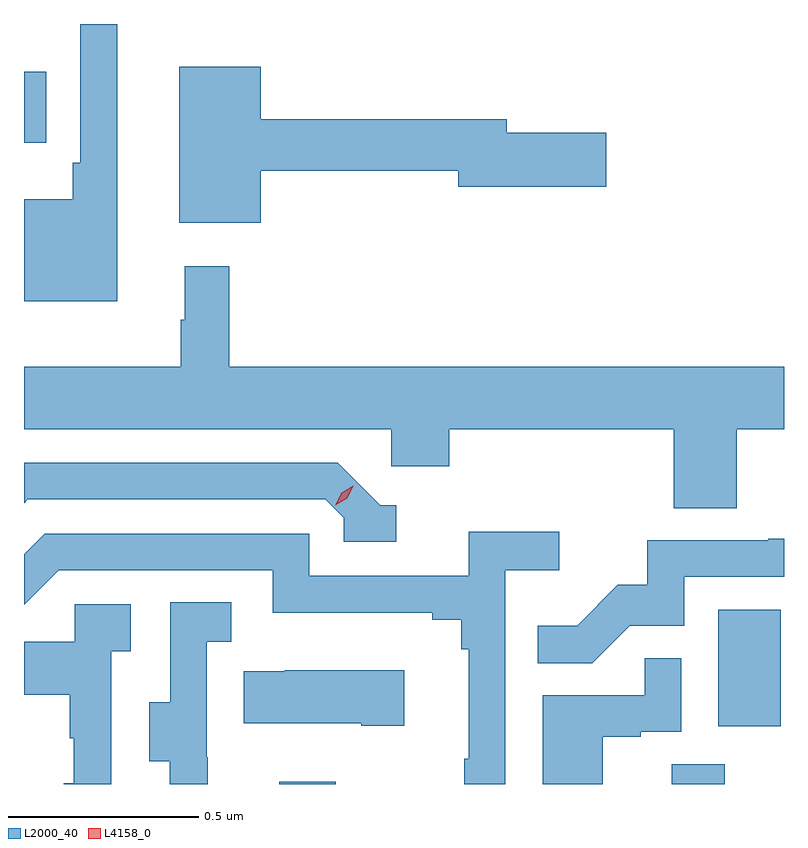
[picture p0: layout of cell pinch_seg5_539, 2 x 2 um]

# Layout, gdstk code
import gdstk
lib = gdstk.Library(unit=1e-6, precision=1e-09)
def R(c, l, rs):  # rectangles x0, y0, x1, y1
    for r in rs: c.add(gdstk.rectangle(r[:2], r[2:], *l))
def P(c, l, *ps):  # polygons
    for p in ps: c.add(gdstk.Polygon(p, *l))
L2000_40 = (2000, 40)
L4158_0 = (4158, 0)

pinch_seg5_539 = lib.new_cell('pinch_seg5_539')
R(pinch_seg5_539, L2000_40, [(958.301,851.83,958.449,851.836), (959.333,851.83,959.473,851.882), (959.456,851.982,959.62,852.289), (957.629,853.517,957.688,853.705)])
P(pinch_seg5_539, L2000_40, [(957.874,853.83),(957.777,853.83),(957.777,853.465),(957.757,853.465),(957.757,853.369),(957.629,853.369),(957.629,853.1),(957.874,853.1)],
  [(958.252,853.444),(958.772,853.444),(958.772,853.402),(959.161,853.402),(959.161,853.544),(958.9,853.544),(958.9,853.58),(958.252,853.58),(958.252,853.717),(958.037,853.717),(958.037,853.307),(958.252,853.307)],
  [(959.504,852.764),(959.629,852.764),(959.629,852.928),(958.169,852.928),(958.169,853.192),(958.052,853.192),(958.052,853.052),(958.041,853.052),(958.041,852.928),(957.629,852.928),(957.629,852.764),(958.596,852.764),(958.596,852.666),(958.748,852.666),(958.748,852.764),(959.339,852.764),(959.339,852.556),(959.504,852.556)],
  [(958.609,852.564),(958.566,852.564),(958.455,852.675),(957.629,852.675),(957.629,852.569),(957.639,852.579),(958.422,852.579),(958.47,852.531),(958.47,852.468),(958.609,852.468)],
  [(958.896,852.392),(959.038,852.392),(959.038,852.494),(958.799,852.494),(958.799,852.378),(958.38,852.378),(958.38,852.489),(957.683,852.489),(957.629,852.435),(957.629,852.302),(957.72,852.393),(958.284,852.393),(958.284,852.281),(958.703,852.281),(958.703,852.262),(958.78,852.262),(958.78,852.185),(958.799,852.185),(958.799,851.897),(958.788,851.897),(958.788,851.83),(958.896,851.83)],
  [(959.223,852.246),(959.367,852.246),(959.367,852.375),(959.629,852.375),(959.629,852.476),(959.587,852.476),(959.587,852.471),(959.269,852.471),(959.269,852.354),(959.192,852.354),(959.085,852.247),(958.981,852.247),(958.981,852.148),(959.125,852.148)],
  [(958.112,851.901),(958.11,851.901),(958.11,852.205),(958.174,852.205),(958.174,852.308),(958.014,852.308),(958.014,852.045),(957.959,852.045),(957.959,851.89),(958.013,851.89),(958.013,851.83),(958.112,851.83)],
  [(957.858,852.179),(957.91,852.179),(957.91,852.303),(957.762,852.303),(957.762,852.205),(957.629,852.205),(957.629,852.065),(957.75,852.065),(957.75,851.951),(957.76,851.951),(957.76,851.832),(957.734,851.832),(957.734,851.83),(957.858,851.83)],
  [(959.152,851.955),(959.252,851.955),(959.252,851.967),(959.358,851.967),(959.358,852.161),(959.263,852.161),(959.263,852.063),(958.994,852.063),(958.994,851.83),(959.152,851.83)],
  [(958.63,852.13),(958.315,852.13),(958.315,852.127),(958.207,852.127),(958.207,851.99),(958.517,851.99),(958.517,851.983),(958.63,851.983)])
P(pinch_seg5_539, L4158_0, [(958.448,852.563),(958.448,852.563),(958.465,852.596),(958.495,852.615),(958.496,852.615),(958.496,852.615),(958.479,852.582),(958.448,852.563)])

lib.write_gds('pinch_seg5_539.gds')
